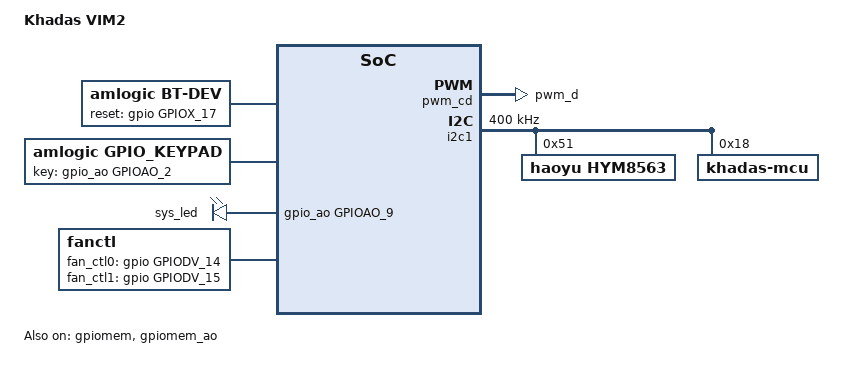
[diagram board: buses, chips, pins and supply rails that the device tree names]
#include "gxm_q200_2g.dts"

/{
	coreelec-dt-id = "gxm_q200_kvim2";
	amlogic-dt-id = "gxm_kvim2";
	model = "Khadas VIM2";

	memory@00000000 {
		/delete-property/ linux,usable-memory;
		linux,usable-memory-2g = <0x0 0x00100000 0x0 0x7ff00000>;
		linux,usable-memory-3g = <0x0 0x00100000 0x0 0xbff00000>;
	};

	/delete-node/ mtd_nand;

/* look into gpiomem driver in Khadas kernel */
	gpiomem {
		compatible = "amlogic, gpiomem";
		reg = <0x0 0xda834000 0x0 0x1000>;
		dev_name = "gpiomem";
		status = "okay";
	};

	gpiomem_ao {
		compatible = "amlogic, gpiomem";
		reg = <0x0 0xc8100000 0x0 0x1000>;
		dev_name = "gpiomem-ao";
		status = "okay";
	};

	bt-dev {
		compatible = "amlogic, bt-dev";
		dev_name = "bt-dev";
		status = "okay";
		gpio_reset = <&gpio       GPIOX_17       GPIO_ACTIVE_HIGH>;
	};

	gpio_keypad {
		compatible = "amlogic, gpio_keypad";
		status = "okay";
		scan_period = <20>;
		key_num = <1>;
		key_name = "power";
		key_code = <116>;
		key-gpios = <&gpio_ao  GPIOAO_2  GPIO_ACTIVE_HIGH>;
		detect_mode = <0>;/*0:polling mode, 1:irq mode*/
	};

	usb3_phy: usb3phy@d0078080 {
		interrupts = <0 16 4>;
		otg = <1>;
		gpio-vbus-power = "GPIOAO_5";
		gpios = <&gpio_ao GPIOAO_5 GPIO_ACTIVE_HIGH>;
	};

	/delete-node/ sysled;
	gpioleds {
		compatible = "gpio-leds";
		status = "okay";

		sys_led {
			label="sys_led";
			gpios=<&gpio_ao GPIOAO_9 GPIO_ACTIVE_HIGH>;
			default-state ="on";
			retain-state-suspended;
			linux,default-trigger="default-on";
		};
	};

	fan {
		compatible = "fanctl";
		fan_ctl0 = <&gpio GPIODV_14 GPIO_ACTIVE_HIGH>;
		fan_ctl1 = <&gpio GPIODV_15 GPIO_ACTIVE_HIGH>;
		trig_temp_level0 = <50>;
		trig_temp_level1 = <60>;
		trig_temp_level2 = <70>;
		hwver = "VIM2.V12"; /* Will be updated in uboot. */
		status = "okay";
	};

	meson-fb {
		/delete-property/ logo_addr;
		logo_addr_2g = "0x7f800000";
		logo_addr_3g = "0xbdc00000";
	};

	aml_sound_meson {
		/delete-property/ mute_gpio-gpios;
		/delete-property/ mute_inv;
	};
};

&pinctrl_periphs{
	audio_spdif_out_mute_pins: audio_spdif_out_mute_pins {
		mux { /* gpioh_4 */
			groups = "GPIOH_4";
			function = "gpio_periphs";
		};
	};

	pwm_d_pin: pwm_d_pin {
		mux {
			groups = "pwm_d";
			function = "pwm_d";
		};
	};
};

&pwm_cd {
	status = "okay";
	pinctrl-names="default";
	pinctrl-0=<&pwm_d_pin>;
};

&i2c1 {
	status = "okay";
	clock-frequency = <400000>;
	pinctrl-names="default";
	pinctrl-0=<&b_i2c_master>;

	hym8563: hym8563@51 {
		compatible = "haoyu,hym8563";
		reg = <0x51>;

		#clock-cells = <0>;
	};

	khadas-mcu {
		compatible = "khadas-mcu";
		reg = <0x18>;
		fan,trig_temp_level0 = <50>;
		fan,trig_temp_level1 = <60>;
		fan,trig_temp_level2 = <70>;
		hwver = "VIM1.V12"; /* Will be updated in uboot. */
	};
};

&uart_B {
	status = "disabled";
};
